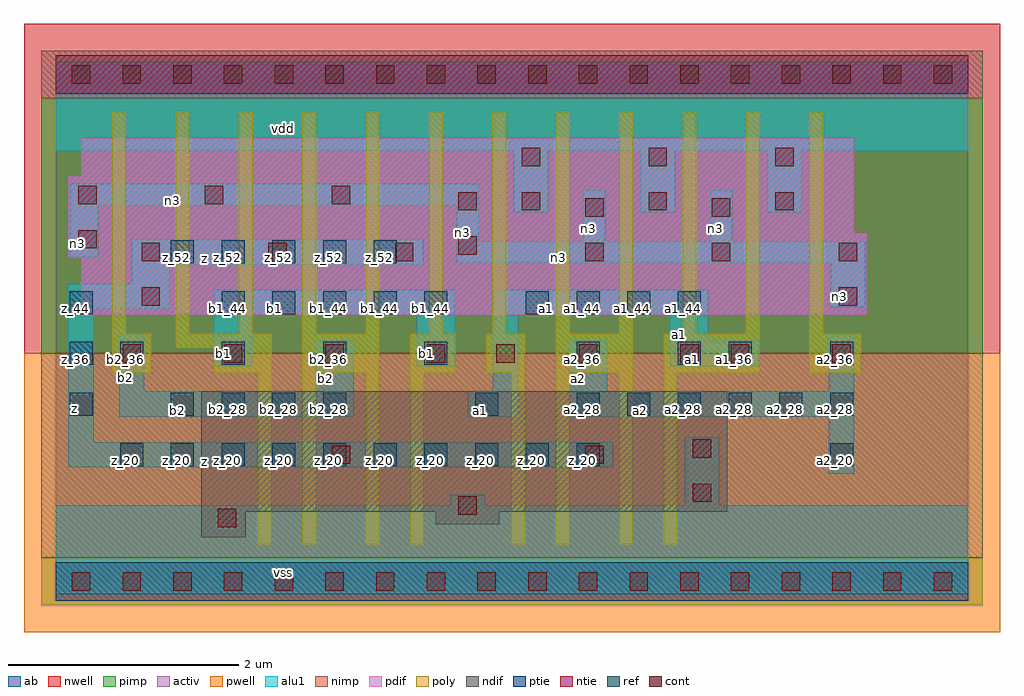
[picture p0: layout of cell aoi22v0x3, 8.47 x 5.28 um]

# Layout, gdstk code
import gdstk
lib = gdstk.Library(unit=1e-6, precision=2.5e-09)
def R(c, l, rs):  # rectangles x0, y0, x1, y1
    for r in rs: c.add(gdstk.rectangle(r[:2], r[2:], *l))
def A(c, l, x, y, w, h, nx, ny, dx, dy):  # array of equal rectangles
    R(c, l, [(x+i*dx, y+j*dy, x+i*dx+w, y+j*dy+h) for i in range(nx) for j in range(ny)])
ndif = (3, 0)
pdif = (4, 0)
ntie = (5, 0)
ptie = (6, 0)
ref = (24, 0)
cont = (25, 0)
pwell = (41, 0)
nwell = (42, 0)
activ = (43, 0)
pimp = (44, 0)
nimp = (45, 0)
poly = (46, 0)
alu1 = (49, 0)
ab = (63, 0)

aoi22v0x3 = lib.new_cell('aoi22v0x3')
R(aoi22v0x3, ndif, [(1.265,0.385,1.65,0.605), (3.3,0.495,3.85,0.605), (1.265,0.605,5.83,1.65)])
R(aoi22v0x3, pdif, [(0.22,2.31,7.04,2.805), (0.11,2.805,7.04,3.025), (0.11,3.025,6.93,3.52), (0.22,3.52,6.93,3.85)])
R(aoi22v0x3, ntie, [(0,4.235,7.92,4.565)])
R(aoi22v0x3, ptie, [(0,-0.165,7.92,0.165)])
A(aoi22v0x3, ref, 0.56, 1, 0.2, 0.2, 10, 1, 0.44, 0)
A(aoi22v0x3, ref, 0.12, 1.44, 0.2, 0.2, 1, 3, 0, 0.44)
A(aoi22v0x3, ref, 1, 1.44, 0.2, 0.2, 4, 1, 0.44, 0)
A(aoi22v0x3, ref, 4.52, 1.44, 0.2, 0.2, 6, 1, 0.44, 0)
A(aoi22v0x3, ref, 0.56, 1.88, 0.2, 0.2, 4, 1, 0.88, 0)
A(aoi22v0x3, ref, 1.44, 2.32, 0.2, 0.2, 5, 1, 0.44, 0)
A(aoi22v0x3, ref, 4.08, 2.32, 0.2, 0.2, 4, 1, 0.44, 0)
A(aoi22v0x3, ref, 1, 2.76, 0.2, 0.2, 5, 1, 0.44, 0)
R(aoi22v0x3, ref, [(6.72,1,6.92,1.2), (3.64,1.44,3.84,1.64), (4.52,1.88,4.72,2.08), (5.4,1.88,5.6,2.08), (5.84,1.88,6.04,2.08), (6.72,1.88,6.92,2.08)])
A(aoi22v0x3, cont, 0.14, -0.08, 0.16, 0.16, 18, 2, 0.44, 4.4)
A(aoi22v0x3, cont, 0.58, 1.9, 0.16, 0.16, 4, 1, 0.88, 0)
A(aoi22v0x3, cont, 0.745, 2.78, 0.16, 0.16, 3, 1, 1.1, 0)
A(aoi22v0x3, cont, 4.595, 2.78, 0.16, 0.16, 3, 1, 1.1, 0)
A(aoi22v0x3, cont, 4.045, 3.22, 0.16, 0.16, 3, 2, 1.1, 0.385)
A(aoi22v0x3, cont, 0.195, 3.275, 0.16, 0.16, 3, 1, 1.1, 0)
R(aoi22v0x3, cont, [(1.405,0.47,1.565,0.63), (3.495,0.58,3.655,0.74), (5.53,0.69,5.69,0.85), (2.395,1.02,2.555,1.18), (4.595,1.02,4.755,1.18), (5.53,1.075,5.69,1.235), (3.825,1.9,3.985,2.06), (4.54,1.9,4.7,2.06), (5.42,1.9,5.58,2.06), (5.86,1.9,6.02,2.06), (6.74,1.9,6.9,2.06), (0.745,2.395,0.905,2.555), (6.795,2.395,6.955,2.555), (3.495,2.835,3.655,2.995), (0.195,2.89,0.355,3.05), (4.595,3.165,4.755,3.325), (5.695,3.165,5.855,3.325), (3.495,3.22,3.655,3.38)])
R(aoi22v0x3, pwell, [(-0.275,-0.44,8.195,1.98)])
R(aoi22v0x3, nwell, [(-0.275,1.98,8.195,4.84)])
R(aoi22v0x3, activ, [(0,-0.165,7.92,0.165), (1.265,0.385,1.65,0.605), (3.3,0.495,3.85,0.605), (1.265,0.605,5.83,1.65), (0.22,2.31,7.04,2.805), (0.11,2.805,7.04,3.025), (0.11,3.025,6.93,3.52), (0.22,3.52,6.93,3.85), (0,4.235,7.92,4.565)])
R(aoi22v0x3, pimp, [(-0.125,-0.205,8.045,0.205), (-0.125,1.98,8.045,4.195)])
R(aoi22v0x3, nimp, [(-0.125,0.205,8.045,1.98), (-0.125,4.195,8.045,4.605)])
A(aoi22v0x3, poly, 0.49, 2.15, 0.12, 1.925, 12, 1, 0.55, 0)
R(aoi22v0x3, poly, [(1.755,0.325,1.875,1.81), (2.14,0.325,2.26,1.81), (2.69,0.325,2.81,1.81), (3.075,0.325,3.195,1.81), (3.955,0.325,4.075,1.81), (4.34,0.325,4.46,1.81), (4.89,0.325,5.01,1.81), (5.275,0.325,5.395,1.81), (0.49,1.81,0.83,2.15), (1.37,1.81,1.875,2.03), (2.14,1.81,2.81,2.15), (3.075,1.81,3.47,2.15), (3.735,1.81,4.075,2.15), (4.34,1.81,5.01,2.15), (5.275,1.81,6.11,2.15), (6.54,1.81,6.99,2.15), (1.04,2.03,1.875,2.15)])
A(aoi22v0x3, alu1, 3.975, 3.205, 0.3, 0.535, 3, 1, 1.1, 0)
R(aoi22v0x3, alu1, [(0,-0.11,7.92,0.66), (3.425,0.66,3.725,0.755), (5.46,0.66,5.76,1.25), (6.71,0.935,6.93,1.43), (0.11,0.99,4.84,1.21), (0.11,1.21,0.33,2.365), (0.55,1.43,2.585,1.65), (3.575,1.43,4.015,1.65), (4.455,1.43,6.93,1.65), (0.55,1.65,0.77,2.145), (2.255,1.65,2.585,2.09), (3.795,1.65,4.015,2.31), (4.455,1.65,4.785,2.09), (6.71,1.65,6.93,2.145), (1.375,1.87,1.705,2.31), (3.135,1.87,3.465,2.31), (5.335,1.87,6.105,2.09), (5.335,2.09,5.665,2.31), (1.375,2.31,3.465,2.53), (3.795,2.31,5.665,2.53), (0.11,2.365,0.99,2.585), (6.725,2.38,7.025,2.765), (0.66,2.585,0.99,2.75), (0.66,2.75,3.19,2.97), (3.48,2.765,7.025,2.955), (0.125,2.82,0.37,3.26), (3.48,2.955,3.67,3.26), (4.58,2.955,4.77,3.395), (5.68,2.955,5.87,3.395), (0.125,3.26,3.67,3.45), (0,3.74,7.92,4.51)])
R(aoi22v0x3, ab, [(0,0,7.92,4.4)])
aoi22v0x3.add(gdstk.Label('vss', (1.98,0.0825), layer=49, texttype=0))
aoi22v0x3.add(gdstk.Label('z', (1.2925,1.045), layer=49, texttype=0))
aoi22v0x3.add(gdstk.Label('a2', (5.0725,1.485), layer=49, texttype=0))
aoi22v0x3.add(gdstk.Label('a1', (5.5275,1.925), layer=49, texttype=0))
aoi22v0x3.add(gdstk.Label('a2', (4.5375,1.76), layer=49, texttype=0))
aoi22v0x3.add(gdstk.Label('a1', (3.685,1.485), layer=49, texttype=0))
aoi22v0x3.add(gdstk.Label('b2', (1.0575,1.485), layer=49, texttype=0))
aoi22v0x3.add(gdstk.Label('a1', (5.4175,2.145), layer=49, texttype=0))
aoi22v0x3.add(gdstk.Label('n3', (6.8,2.475), layer=49, texttype=0))
aoi22v0x3.add(gdstk.Label('a1', (4.2625,2.365), layer=49, texttype=0))
aoi22v0x3.add(gdstk.Label('b1', (3.2175,1.98), layer=49, texttype=0))
aoi22v0x3.add(gdstk.Label('b2', (2.3375,1.76), layer=49, texttype=0))
aoi22v0x3.add(gdstk.Label('b1', (1.4575,1.98), layer=49, texttype=0))
aoi22v0x3.add(gdstk.Label('b2', (0.605,1.7725), layer=49, texttype=0))
aoi22v0x3.add(gdstk.Label('b1', (1.8975,2.365), layer=49, texttype=0))
aoi22v0x3.add(gdstk.Label('z', (0.165,1.4975), layer=49, texttype=0))
aoi22v0x3.add(gdstk.Label('n3', (4.365,2.8125), layer=49, texttype=0))
aoi22v0x3.add(gdstk.Label('n3', (5.7275,3.065), layer=49, texttype=0))
aoi22v0x3.add(gdstk.Label('n3', (4.6275,3.065), layer=49, texttype=0))
aoi22v0x3.add(gdstk.Label('n3', (3.5275,3.03), layer=49, texttype=0))
aoi22v0x3.add(gdstk.Label('z', (1.2925,2.805), layer=49, texttype=0))
aoi22v0x3.add(gdstk.Label('n3', (0.185,2.93), layer=49, texttype=0))
aoi22v0x3.add(gdstk.Label('n3', (1.01,3.3075), layer=49, texttype=0))
aoi22v0x3.add(gdstk.Label('vdd', (1.98,3.9325), layer=49, texttype=0))
aoi22v0x3.add(gdstk.Label('a2_28', (5.45,1.49), layer=24, texttype=0))
aoi22v0x3.add(gdstk.Label('a1_36', (5.45,1.93), layer=24, texttype=0))
aoi22v0x3.add(gdstk.Label('a1_44', (5.45,2.37), layer=24, texttype=0))
aoi22v0x3.add(gdstk.Label('a2_28', (5.89,1.49), layer=24, texttype=0))
aoi22v0x3.add(gdstk.Label('a1_36', (5.89,1.93), layer=24, texttype=0))
aoi22v0x3.add(gdstk.Label('a2_28', (6.33,1.49), layer=24, texttype=0))
aoi22v0x3.add(gdstk.Label('z_20', (0.61,1.05), layer=24, texttype=0))
aoi22v0x3.add(gdstk.Label('b2_36', (0.61,1.93), layer=24, texttype=0))
aoi22v0x3.add(gdstk.Label('a2_20', (6.77,1.05), layer=24, texttype=0))
aoi22v0x3.add(gdstk.Label('a2_28', (6.77,1.49), layer=24, texttype=0))
aoi22v0x3.add(gdstk.Label('a2_36', (6.77,1.93), layer=24, texttype=0))
aoi22v0x3.add(gdstk.Label('z_20', (1.05,1.05), layer=24, texttype=0))
aoi22v0x3.add(gdstk.Label('b2_28', (1.05,1.49), layer=24, texttype=0))
aoi22v0x3.add(gdstk.Label('z_52', (1.05,2.81), layer=24, texttype=0))
aoi22v0x3.add(gdstk.Label('z_20', (1.49,1.05), layer=24, texttype=0))
aoi22v0x3.add(gdstk.Label('b2_28', (1.49,1.49), layer=24, texttype=0))
aoi22v0x3.add(gdstk.Label('b1_36', (1.49,1.93), layer=24, texttype=0))
aoi22v0x3.add(gdstk.Label('b1_44', (1.49,2.37), layer=24, texttype=0))
aoi22v0x3.add(gdstk.Label('z_52', (1.49,2.81), layer=24, texttype=0))
aoi22v0x3.add(gdstk.Label('z_20', (1.93,1.05), layer=24, texttype=0))
aoi22v0x3.add(gdstk.Label('b2_28', (1.93,1.49), layer=24, texttype=0))
aoi22v0x3.add(gdstk.Label('b1_44', (1.93,2.37), layer=24, texttype=0))
aoi22v0x3.add(gdstk.Label('z_52', (1.93,2.81), layer=24, texttype=0))
aoi22v0x3.add(gdstk.Label('z_28', (0.17,1.49), layer=24, texttype=0))
aoi22v0x3.add(gdstk.Label('z_36', (0.17,1.93), layer=24, texttype=0))
aoi22v0x3.add(gdstk.Label('z_44', (0.17,2.37), layer=24, texttype=0))
aoi22v0x3.add(gdstk.Label('z_20', (2.37,1.05), layer=24, texttype=0))
aoi22v0x3.add(gdstk.Label('b2_28', (2.37,1.49), layer=24, texttype=0))
aoi22v0x3.add(gdstk.Label('b2_36', (2.37,1.93), layer=24, texttype=0))
aoi22v0x3.add(gdstk.Label('b1_44', (2.37,2.37), layer=24, texttype=0))
aoi22v0x3.add(gdstk.Label('z_52', (2.37,2.81), layer=24, texttype=0))
aoi22v0x3.add(gdstk.Label('z_20', (2.81,1.05), layer=24, texttype=0))
aoi22v0x3.add(gdstk.Label('b1_44', (2.81,2.37), layer=24, texttype=0))
aoi22v0x3.add(gdstk.Label('z_52', (2.81,2.81), layer=24, texttype=0))
aoi22v0x3.add(gdstk.Label('z_20', (3.25,1.05), layer=24, texttype=0))
aoi22v0x3.add(gdstk.Label('b1_36', (3.25,1.93), layer=24, texttype=0))
aoi22v0x3.add(gdstk.Label('b1_44', (3.25,2.37), layer=24, texttype=0))
aoi22v0x3.add(gdstk.Label('z_20', (3.69,1.05), layer=24, texttype=0))
aoi22v0x3.add(gdstk.Label('a1_28', (3.69,1.49), layer=24, texttype=0))
aoi22v0x3.add(gdstk.Label('z_20', (4.13,1.05), layer=24, texttype=0))
aoi22v0x3.add(gdstk.Label('a1_44', (4.13,2.37), layer=24, texttype=0))
aoi22v0x3.add(gdstk.Label('z_20', (4.57,1.05), layer=24, texttype=0))
aoi22v0x3.add(gdstk.Label('a2_28', (4.57,1.49), layer=24, texttype=0))
aoi22v0x3.add(gdstk.Label('a2_36', (4.57,1.93), layer=24, texttype=0))
aoi22v0x3.add(gdstk.Label('a1_44', (4.57,2.37), layer=24, texttype=0))
aoi22v0x3.add(gdstk.Label('a2_28', (5.01,1.49), layer=24, texttype=0))
aoi22v0x3.add(gdstk.Label('a1_44', (5.01,2.37), layer=24, texttype=0))

lib.write_gds('aoi22v0x3.gds')
